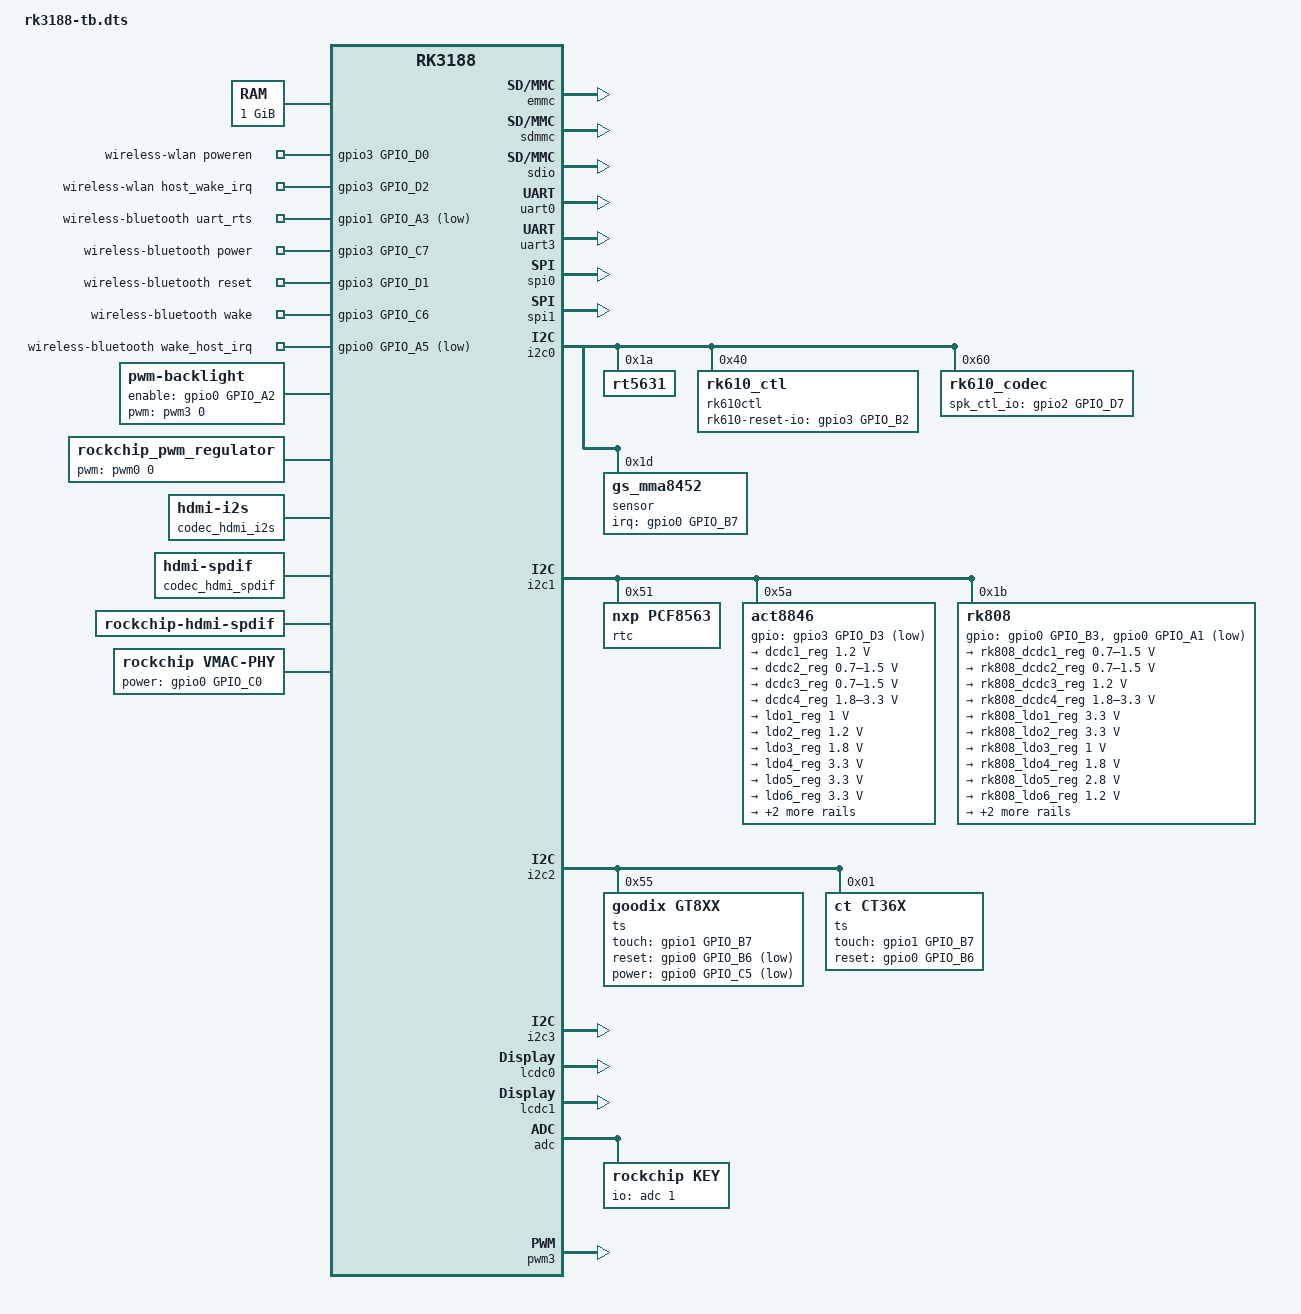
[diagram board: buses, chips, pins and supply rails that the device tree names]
// SPDX-License-Identifier: (GPL-2.0+ OR MIT)
/dts-v1/;

#include "rk3188.dtsi"
#include "lcd-b101ew05.dtsi"

/ {
	memory {
		device_type = "memory";
		reg = <0x60000000 0x40000000>;
	};

	chosen {
		bootargs = "clk_ignore_unused";
	};

	fiq-debugger {
		status = "okay";
	};


	wireless-wlan {
		compatible = "wlan-platdata";

		wifi_chip_type = "";
		sdio_vref = <28000>;

		//power_ctrl_by_pmu;
		pmu_regulator = "act_ldo3";
		pmu_enable_level = <1>; //1->HIGH, 0->LOW

		WIFI,poweren_gpio = <&gpio3 GPIO_D0 GPIO_ACTIVE_HIGH>;
		WIFI,host_wake_irq = <&gpio3 GPIO_D2 GPIO_ACTIVE_HIGH>;
		//WIFI,reset_gpio = <&gpio0 GPIO_A2 GPIO_ACTIVE_LOW>;

		status = "okay";
	};

	wireless-bluetooth {
		compatible = "bluetooth-platdata";

		uart_rts_gpios = <&gpio1 GPIO_A3 GPIO_ACTIVE_LOW>;
		pinctrl-names = "default","rts_gpio";
		pinctrl-0 = <&uart0_rts>;
		pinctrl-1 = <&uart0_rts_gpio>;

		BT,power_gpio = <&gpio3 GPIO_C7 GPIO_ACTIVE_HIGH>;
		BT,reset_gpio = <&gpio3 GPIO_D1 GPIO_ACTIVE_HIGH>;
		BT,wake_gpio = <&gpio3 GPIO_C6 GPIO_ACTIVE_HIGH>;
		BT,wake_host_irq = <&gpio0 GPIO_A5 GPIO_ACTIVE_LOW>;

		status = "okay";
	};

	backlight {
		compatible = "pwm-backlight";
		pwms = <&pwm3 0 25000>;
		brightness-levels = <0 1 2 3 4 5 6 7 8 9 10 11 12 13 14 15 16 17 18 19 20 21 22 23 24 25 26 27 28 29 30 31 32 33 34 35 36 37 38 39 40 41 42 43 44 45 46 47 48 49 50 51 52 53 54 55 56 57 58 59 60 61 62 63 64 65 66 67 68 69 70 71 72 73 74 75 76 77 78 79 80 81 82 83 84 85 86 87 88 89 90 91 92 93 94 95 96 97 98 99 100 101 102 103 104 105 106 107 108 109 110 111 112 113 114 115 116 117 118 119 120 121 122 123 124 125 126 127 128 129 130 131 132 133 134 135 136 137 138 139 140 141 142 143 144 145 146 147 148 149 150 151 152 153 154 155 156 157 158 159 160 161 162 163 164 165 166 167 168 169 170 171 172 173 174 175 176 177 178 179 180 181 182 183 184 185 186 187 188 189 190 191 192 193 194 195 196 197 198 199 200 201 202 203 204 205 206 207 208 209 210 211 212 213 214 215 216 217 218 219 220 221 222 223 224 225 226 227 228 229 230 231 232 233 234 235 236 237 238 239 240 241 242 243 244 245 246 247 248 249 250 251 252 253 254 255>;
		default-brightness-level = <128>;
		enable-gpios = <&gpio0 GPIO_A2 GPIO_ACTIVE_HIGH>;
	};

	pwm_regulator {
       compatible = "rockchip_pwm_regulator";
	pwms = <&pwm0 0 25000>;
	rockchip,pwm_id= <0>;
       rockchip,pwm_voltage_map= <925000 950000 975000 1000000 1025000 1050000 1075000 1100000 1125000 1150000 1175000 1200000 1225000 1250000 1275000 1300000 1325000 1350000 1375000 1400000>;
	rockchip,pwm_voltage= <1000000>;
	rockchip,pwm_min_voltage= <925000>;
	rockchip,pwm_max_voltage= <1400000>;
	rockchip,pwm_suspend_voltage= <950000>;
	rockchip,pwm_coefficient= <475>;
	regulators {
		#address-cells = <1>;
		#size-cells = <0>;			
		 pwm_reg0: regulator@0{
			regulator-compatible = "pwm_dcdc1";
			regulator-name= "vdd_gpu";
			regulator-min-microvolt = <925000>;
			regulator-max-microvolt = <1400000>;	
			regulator-always-on;
			regulator-boot-on;
		};
	    };
	};


	codec_hdmi_i2s: codec-hdmi-i2s {
		compatible = "hdmi-i2s";
	};

	codec_hdmi_spdif: codec-hdmi-spdif {
		compatible = "hdmi-spdif";
	};

	rockchip-rt5631 {
		compatible = "rockchip-rt5631";
		dais {
			dai0 {
				audio-codec = <&rt5631>;
				audio-controller = <&i2s0>;
				format = "i2s";
				//continuous-clock;
				//bitclock-inversion;
				//frame-inversion;
				//bitclock-master;
				//frame-master;
			};
		};
	};

	rockchip-rk610 {
		compatible = "rockchip-rk610";
		dais {
			dai0 {
				audio-codec = <&rk610_codec>;
				audio-controller = <&i2s0>;
				format = "i2s";
				//continuous-clock;
				//bitclock-inversion;
				//frame-inversion;
				//bitclock-master;
				//frame-master;
			};
		};
	};

	rockchip-hdmi-i2s {
		compatible = "rockchip-hdmi-i2s";
		dais {
			dai0 {
				audio-codec = <&codec_hdmi_i2s>;
				audio-controller = <&i2s0>;
				format = "i2s";
				//continuous-clock;
				//bitclock-inversion;
				//frame-inversion;
				//bitclock-master;
				//frame-master;
			};
		};
	};

	rockchip-hdmi-spdif {
		compatible = "rockchip-hdmi-spdif";
		dais {
			dai0 {
				audio-codec = <&codec_hdmi_spdif>;
				audio-controller = <&spdif>;
			};
		};
	};

	vmac-phy {
		compatible = "rockchip,vmac-phy";
		power-gpios = <&gpio0 GPIO_C0 GPIO_ACTIVE_HIGH>;
	};

};

&pinctrl {

	gpio1_gpio {
			gpio1_a2: gpio1-a2 {
				rockchip,pins = <GPIO1_A2>;
				rockchip,pull = <VALUE_PULL_UP>;
			};

			//to add
		};

	//could add other pinctrl definition such as gpio

};


&emmc {
	clock-frequency = <50000000>;
        clock-freq-min-max = <400000 50000000>;

        supports-highspeed;
	supports-emmc;
        bootpart-no-access;
        
    	status = "okay";
};
    
&sdmmc {
	clock-frequency = <50000000>;
	lock-freq-min-max = <400000 50000000>;	            
	    
	supports-highspeed;
	supports-sd;
	broken-cd;
	card-detect-delay = <200>;

	pwr-gpios = <&gpio3 GPIO_A1 GPIO_ACTIVE_LOW>; /*pwr_en = GPIO3_A1*/

	status = "okay";
};
		
&sdio {
	clock-frequency = <50000000>;
        clock-freq-min-max = <200000 50000000>;
		
  	supports-highspeed;		
	supports-sdio;
	cap-sdio-irq;
	status = "okay";
};


&uart0 {
	status = "okay";
	dma-names = "!tx", "!rx";
	pinctrl-0 = <&uart0_xfer &uart0_cts>;
};

&uart3 {
	status = "okay";
	dma-names = "!tx", "!rx";
};

&watchdog {
	rockchip,timeout = <50>;
	rockchip,debug = <1>;
	status = "disabled";
};

&spi0 {
	status = "okay";
	max-freq = <48000000>;	
	/*
	spi_test@00 {
     		compatible = "rockchip,spi_test_bus0_cs0";
                reg = <0>;
                spi-max-frequency = <24000000>;
                poll_mode = <0>;
	        type = <0>;
		enable_dma = <0>;

	};

	spi_test@01 {
	        compatible = "rockchip,spi_test_bus0_cs1";
	        reg = <1>;
	        spi-max-frequency = <24000000>;
	        poll_mode = <0>;
	        type = <0>;
		enable_dma = <0>;
	};
	*/
};

&spi1 {
	status = "okay";
	max-freq = <48000000>;
	/*
	spi_test@10 {
	        compatible = "rockchip,spi_test_bus1_cs0";
	        reg = <0>;
	        spi-max-frequency = <24000000>;
	        poll_mode = <0>;
	        type = <0>;
		enable_dma = <0>;
	};

	spi_test@11 {
	        compatible = "rockchip,spi_test_bus1_cs1";
	        reg = <1>;
	        spi-max-frequency = <24000000>;
	        poll_mode = <0>;
	        type = <0>;
		enable_dma = <0>;
	};
	*/
};


&i2c0 {
	status = "okay";
	rt5631: rt5631@1a {
		compatible = "rt5631";
		reg = <0x1a>;
	};

	rk610ctl@40 {
		compatible = "rk610_ctl";
		reg = <0x40>;
		rk610-reset-io = <&gpio3 GPIO_B2 GPIO_ACTIVE_HIGH>;
		clocks = <&clk_i2s>;
		clock-names = "i2s_clk";
	};

	rk610_codec: rk610codec@60 {//RK610_CODEC addr  from 0x60 to 0x80 (0x60~0x80)
		compatible = "rk610_codec";
		reg = <0x60>;
		spk_ctl_io = <&gpio2 GPIO_D7 GPIO_ACTIVE_HIGH>;
		boot_depop = <1>;
		pa_enable_time = <1000>;
	};

	sensor@1d {
		compatible = "gs_mma8452";
		reg = <0x1d>;
		type = <SENSOR_TYPE_ACCEL>;
		irq-gpio = <&gpio0 GPIO_B7 IRQ_TYPE_EDGE_FALLING>;		
		irq_enable = <1>;
		poll_delay_ms = <30>;
		layout = <1>;
	};
};

&i2c1 {
	status = "okay";
	rtc@51 {
		compatible = "nxp,pcf8563";
		reg = <0x51>;
	};

	act8846: act8846@5a {
		reg = <0x5a>;
		status = "okay";
	};
	rk808: rk808@1b {
		reg = <0x1b>;
		status = "okay";
	};
	bq24296: bq24296@6b {
		compatible = "ti,bq24296";
		reg = <0x6b>;
/*	gpios = <&gpio0 GPIO_A7 GPIO_ACTIVE_HIGH>; */
	  bq24296,chg_current = <1000 500 2000>;
		status = "disable";
	};
	bq27320: bq27320@55 {
		compatible = "ti,bq27320";
		reg = <0x55>;
/*  gpios = <&gpio0 GPIO_A7 GPIO_ACTIVE_HIGH>; */
		status = "disable";
	};
};

&i2c2 {
	status = "okay";
	ts@55 {
		compatible = "goodix,gt8xx";
		reg = <0x55>;
		touch-gpio = <&gpio1 GPIO_B7 IRQ_TYPE_LEVEL_LOW>;
		reset-gpio = <&gpio0 GPIO_B6 GPIO_ACTIVE_LOW>;
		power-gpio = <&gpio0 GPIO_C5 GPIO_ACTIVE_LOW>;
		max-x = <1280>;
		max-y = <800>;
	};
	ts@01 {
		compatible = "ct,ct36x";
		reg = <0x01>;
		ct-model = <365>;
		touch-gpio = <&gpio1 GPIO_B7 IRQ_TYPE_LEVEL_LOW>;
		reset-gpio = <&gpio0 GPIO_B6 GPIO_ACTIVE_HIGH>;
		max-x = <1280>;
		max-y = <800>;
		orientation=<1 0 0 1>;
	};
};

&i2c3 {
	status = "okay";
};

&fb {
	rockchip,disp-mode = <DUAL>;
};

&rk_screen {
	 display-timings = <&disp_timings>;
};

&lcdc0 {
	status = "okay";
	power_ctr: power_ctr {
		rockchip,debug = <0>;
		lcd_en:lcd_en {
			rockchip,power_type = <GPIO>;
			gpios = <&gpio0 GPIO_B0 GPIO_ACTIVE_HIGH>;
			rockchip,delay = <10>;
		};

                     /*lcd_cs:lcd_cs {
                                rockchip,power_type = <GPIO>;
                                gpios = <&gpio3 GPIO_D6 GPIO_ACTIVE_HIGH>;
                                rockchip,delay = <10>;
                        };

                        lcd_rst:lcd_rst {
                                rockchip,power_type = <REGULATOR>;
                                rockchip,delay = <5>;
                        };*/

	};
};

&lcdc1 {
	status = "okay";
};

&adc {
	status = "okay";

	key {
		compatible = "rockchip,key";
		io-channels = <&adc 1>;

		vol-up-key {
			linux,code = <115>;
			label = "volume up";
			rockchip,adc_value = <1>;
		};

		vol-down-key {
			linux,code = <114>;
			label = "volume down";
			rockchip,adc_value = <170>;
		};

		power-key {
			gpios = <&gpio0 GPIO_A4 GPIO_ACTIVE_LOW>;
			linux,code = <116>;
			label = "power";
			gpio-key,wakeup;
		};

		menu-key {
			linux,code = <139>;
			label = "menu";
			rockchip,adc_value = <355>;
		};

		home-key {
			linux,code = <102>;
			label = "home";
			rockchip,adc_value = <746>;
		};

		back-key {
			linux,code = <158>;
			label = "back";
			rockchip,adc_value = <560>;
		};

		camera-key {
			linux,code = <212>;
			label = "camera";
			rockchip,adc_value = <450>;
		};
	};
};

&pwm3 {
	status = "okay";
};

&pwm0 {
        status = "disable";
};

&clk_core_dvfs_table {
	operating-points = <
		/* KHz    uV */
		312000 1100000
		504000 1100000
		816000 1100000
		1008000 1100000
		1200000 1200000
		1416000 1300000
		1608000 1350000
		>;
};

&clk_gpu_dvfs_table {
	operating-points = <
		/* KHz    uV */
		200000 1200000
		300000 1200000
		400000 1200000
		>;
};

&clk_ddr_dvfs_table {
	operating-points = <
		/* KHz    uV */
		200000 1200000
		300000 1200000
		400000 1200000
		>;

	freq_table = <
		/*status		freq(KHz)*/
		SYS_STATUS_NORMAL	400000
		SYS_STATUS_SUSPEND	200000
		SYS_STATUS_VIDEO	300000
		SYS_STATUS_DUALVIEW	500000
		>;
};

/include/ "act8846.dtsi"
&act8846 {
	gpios =<&gpio3 GPIO_D3 GPIO_ACTIVE_LOW>;

	regulators {
		
		dcdc1_reg: regulator@0{
			regulator-name= "act_dcdc1";
			regulator-min-microvolt = <1200000>;
			regulator-max-microvolt = <1200000>;
			regulator-always-on;
			regulator-boot-on;
		};

		dcdc2_reg: regulator@1 {
			regulator-name= "vdd_logic";
			regulator-min-microvolt = <700000>;
			regulator-max-microvolt = <1500000>;
			regulator-initial-state = <3>;
			regulator-state-mem {
				regulator-state-enabled;
				regulator-state-uv = <1200000>;
			};			
		};

		dcdc3_reg: regulator@2 {
			regulator-name= "vdd_arm";
			regulator-min-microvolt = <700000>;
			regulator-max-microvolt = <1500000>;
			regulator-initial-state = <3>;
			regulator-state-mem {
				regulator-state-enabled;
				regulator-state-uv = <1200000>;
			};
		};

		dcdc4_reg: regulator@3 {
			regulator-name= "vccio";
			regulator-min-microvolt = <1800000>;
			regulator-max-microvolt = <3300000>;
			regulator-initial-state = <3>;
			regulator-state-mem {
				regulator-state-enabled;
				regulator-state-uv = <3300000>;
			};
		};

		ldo1_reg: regulator@4 {
			regulator-name= "act_ldo1";
			regulator-min-microvolt = <1000000>;
			regulator-max-microvolt = <1000000>;
		
		};

		ldo2_reg: regulator@5 {
			regulator-name= "act_ldo2";
			regulator-min-microvolt = <1200000>;
			regulator-max-microvolt = <1200000>;
		
		};

		ldo3_reg: regulator@6 {
			regulator-name= "act_ldo3";
			regulator-min-microvolt = <1800000>;
			regulator-max-microvolt = <1800000>;
			
		};

		ldo4_reg:regulator@7 {
			regulator-name= "act_ldo4";
			regulator-min-microvolt = <3300000>;
			regulator-max-microvolt = <3300000>;
			
		};

		ldo5_reg: regulator@8 {
			regulator-name= "act_ldo5";
			regulator-min-microvolt = <3300000>;
			regulator-max-microvolt = <3300000>;
		
		};

		ldo6_reg: regulator@9 {
			regulator-name= "act_ldo6";
			regulator-min-microvolt = <3300000>;
			regulator-max-microvolt = <3300000>;
		
		};

		ldo7_reg: regulator@10 {
			regulator-name= "act_ldo7";
			regulator-min-microvolt = <1800000>;
			regulator-max-microvolt = <1800000>;
		
		};

		ldo8_reg: regulator@11 {
			regulator-name= "act_ldo8";
			regulator-min-microvolt = <2800000>;
			regulator-max-microvolt = <2800000>;
		
		};
	};
};

/include/ "rk808.dtsi"
&rk808 {
	gpios =<&gpio0 GPIO_B3 GPIO_ACTIVE_HIGH>,<&gpio0 GPIO_A1 GPIO_ACTIVE_LOW>;

	regulators {
		
		rk808_dcdc1_reg: regulator@0{
			regulator-name= "vdd_arm";	
			regulator-min-microvolt = <700000>;
			regulator-max-microvolt = <1500000>;
			regulator-always-on;
			regulator-boot-on;
			regulator-initial-mode = <0x2>;
			regulator-initial-state = <3>;
			regulator-state-mem {
				regulator-state-mode = <0x2>;
				regulator-state-enabled;
				regulator-state-uv = <900000>;
			};
		};

		rk808_dcdc2_reg: regulator@1 {
			regulator-name= "vdd_logic";
			regulator-min-microvolt = <700000>;
			regulator-max-microvolt = <1500000>;
			regulator-always-on;
			regulator-boot-on;		
			regulator-initial-mode = <0x2>;
			regulator-initial-state = <3>;
			regulator-state-mem {
				regulator-state-mode = <0x2>;
				regulator-state-enabled;
				regulator-state-uv = <900000>;
			};
		};

		rk808_dcdc3_reg: regulator@2 {
			regulator-name= "rk_dcdc3";
			regulator-min-microvolt = <1200000>;
			regulator-max-microvolt = <1200000>;
			regulator-always-on;
			regulator-boot-on;
			regulator-initial-mode = <0x2>;
			regulator-initial-state = <3>;
			regulator-state-mem {
				regulator-state-mode = <0x2>;
				regulator-state-enabled;
				regulator-state-uv = <1200000>;
			};
		};

		rk808_dcdc4_reg: regulator@3 {
			regulator-name= "vccio";
			regulator-min-microvolt = <1800000>;
			regulator-max-microvolt = <3300000>;
			regulator-always-on;
			regulator-boot-on;
			regulator-initial-mode = <0x2>;
			regulator-initial-state = <3>;
			regulator-state-mem {
				regulator-state-mode = <0x2>;
				regulator-state-enabled;
				regulator-state-uv = <2800000>;
			};
		};

		rk808_ldo1_reg: regulator@4 {
			regulator-name= "rk_ldo1";
			regulator-min-microvolt = <3300000>;
			regulator-max-microvolt = <3300000>;
			regulator-always-on;
			regulator-boot-on;
			regulator-initial-state = <3>;
			regulator-state-mem {
				regulator-state-enabled;
				regulator-state-uv = <3300000>;
			};
		};

		rk808_ldo2_reg: regulator@5 {
			regulator-name= "rk_ldo2";
			regulator-min-microvolt = <3300000>;
			regulator-max-microvolt = <3300000>;
			regulator-always-on;
			regulator-boot-on;
			regulator-initial-state = <3>;
			regulator-state-mem {
				regulator-state-enabled;
				regulator-state-uv = <3300000>;
			};
		};

		rk808_ldo3_reg: regulator@6 {
			regulator-name= "rk_ldo3";
			regulator-min-microvolt = <1000000>;
			regulator-max-microvolt = <1000000>;
			regulator-always-on;
			regulator-boot-on;
			regulator-initial-state = <3>;
			regulator-state-mem {
				regulator-state-enabled;
				regulator-state-uv = <1000000>;
			};
		};

		rk808_ldo4_reg:regulator@7 {
			regulator-name= "rk_ldo4";
			regulator-min-microvolt = <1800000>;
			regulator-max-microvolt = <1800000>;
			regulator-always-on;
			regulator-boot-on;
			regulator-initial-state = <3>;
			regulator-state-mem {
				regulator-state-disabled;
				regulator-state-uv = <1800000>;
			};
		};

		rk808_ldo5_reg: regulator@8 {
			regulator-name= "rk_ldo5";
			regulator-min-microvolt = <2800000>;
			regulator-max-microvolt = <2800000>;
			regulator-always-on;
			regulator-boot-on;
			regulator-initial-state = <3>;
			regulator-state-mem {
				regulator-state-enabled;
				regulator-state-uv = <2800000>;
			};
		};

		rk808_ldo6_reg: regulator@9 {
			regulator-name= "rk_ldo6";
			regulator-min-microvolt = <1200000>;
			regulator-max-microvolt = <1200000>;
			regulator-always-on;
			regulator-boot-on;
			regulator-initial-state = <3>;
			regulator-state-mem {
				regulator-state-disabled;
				regulator-state-uv = <1200000>;
			};
		};

		rk808_ldo7_reg: regulator@10 {
			regulator-name= "rk_ldo7";
			regulator-min-microvolt = <1800000>;
			regulator-max-microvolt = <1800000>;
			regulator-always-on;
			regulator-boot-on;
			regulator-initial-state = <3>;
			regulator-state-mem {
				regulator-state-enabled;
				regulator-state-uv = <1800000>;
			};
		};

		rk808_ldo8_reg: regulator@11 {
			regulator-name= "rk_ldo8";
			regulator-min-microvolt = <1800000>;
			regulator-max-microvolt = <1800000>;
			regulator-always-on;
			regulator-boot-on;
			regulator-initial-state = <3>;
			regulator-state-mem {
				regulator-state-enabled;
				regulator-state-uv = <1800000>;
			};
		};
	};
};

&ap0_vcc_domain{
	regulator-name= "vccio_wl";	
};
&ap1_vcc_domain{
	regulator-name= "vccio";	
};
&cif_vcc_domain{
	regulator-name= "vcc18_cif";	
};
&flash_vcc_domain{
	regulator-name= "vcc_flash";	
};
&vccio0_vcc_domain{
	regulator-name= "vccio";	
};
&vccio1_vcc_domain{
	regulator-name= "vccio";	
};
&lcdc0_vcc_domain{
	regulator-name= "vcc_lcd";	
};
&lcdc1_vcc_domain{
	regulator-name= "vccio";	
};
